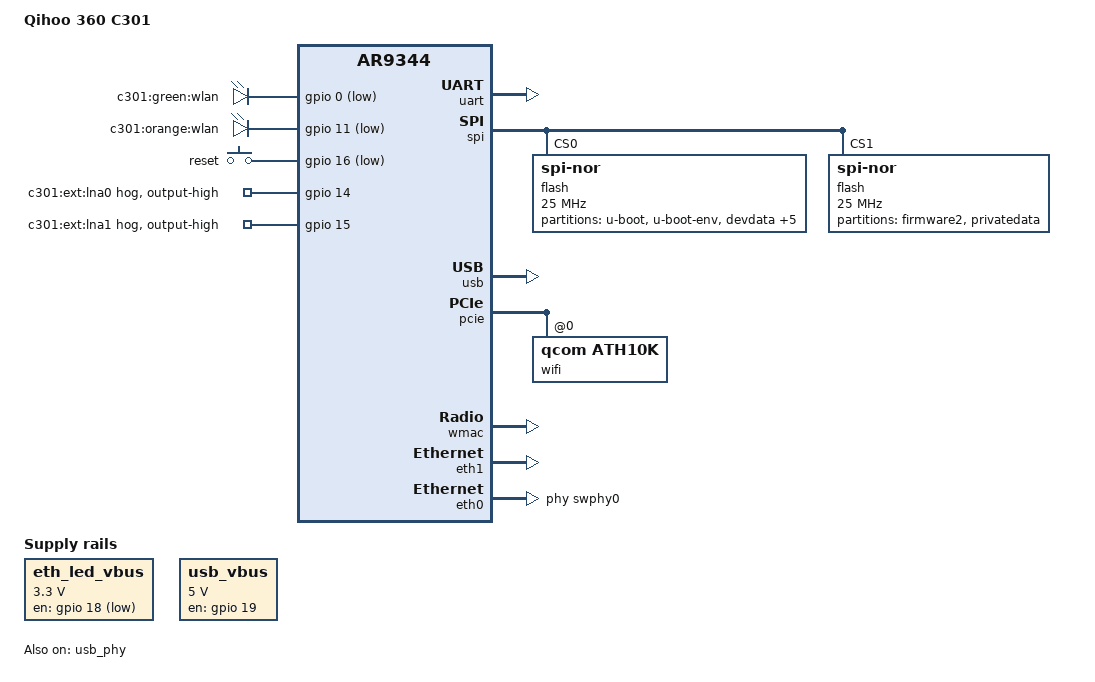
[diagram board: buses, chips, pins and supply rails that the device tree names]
// SPDX-License-Identifier: GPL-2.0-or-later OR MIT

#include "ar9344.dtsi"

#include <dt-bindings/gpio/gpio.h>
#include <dt-bindings/input/input.h>

/ {
	model = "Qihoo 360 C301";
	compatible = "qihoo,c301";

	aliases {
		led-boot = &led_wlan_g;
		led-failsafe = &led_wlan_o;
		led-upgrade = &led_wlan_o;
	};

	leds {
		compatible = "gpio-leds";
		pinctrl-names = "default";
		pinctrl-0 = <&jtag_disable_pins>;

		led_wlan_g: wlan_g {
			label = "c301:green:wlan";
			gpios = <&gpio 0 GPIO_ACTIVE_LOW>;
		};

		led_wlan_o: wlan_o {
			label = "c301:orange:wlan";
			gpios = <&gpio 11 GPIO_ACTIVE_LOW>;
			linux,default-trigger = "phy1tpt";
		};
	};

	keys {
		compatible = "gpio-keys";

		reset {
			linux,code = <KEY_RESTART>;
			gpios = <&gpio 16 GPIO_ACTIVE_LOW>;
			debounce-interval = <60>;
		};
	};

	reg_eth_led_vbus {
		compatible = "regulator-fixed";
		regulator-name = "eth_led_vbus";
		regulator-min-microvolt = <3300000>;
		regulator-max-microvolt = <3300000>;
		regulator-always-on;
		gpio = <&gpio 18 GPIO_ACTIVE_LOW>;
	};

	usb_vbus: reg_usb_vbus {
		compatible = "regulator-fixed";
		regulator-name = "usb_vbus";
		regulator-min-microvolt = <5000000>;
		regulator-max-microvolt = <5000000>;
		enable-active-high;
		gpio = <&gpio 19 GPIO_ACTIVE_HIGH>;
	};
};

&pinmux {
	pmx_spi_cs1: pinmux_spi_cs1 {
		pinctrl-single,bits = <0xc 0x07 0xff>;
	};

	pmx_led_switch: pinmux_led_switch {
		pinctrl-single,bits = <0x0 0x2b2a2d00 0xffffff00>;
	};
};

&ref {
	clock-frequency = <40000000>;
};

&uart {
	status = "okay";
};

&gpio {
	gpio_ext_lna0 {
		gpio-hog;
		gpios = <14 0>;
		output-high;
		line-name = "c301:ext:lna0";
	};

	gpio_ext_lna1 {
		gpio-hog;
		gpios = <15 0>;
		output-high;
		line-name = "c301:ext:lna1";
	};
};

&builtin_switch {
	pinctrl-names = "default";
	pinctrl-0 = <&pmx_led_switch>;
};

&spi {
	pinctrl-names = "default";
	pinctrl-0 = <&pmx_spi_cs1>;
	status = "okay";

	num-cs = <2>;

	flash@0 {
		#address-cells = <1>;
		#size-cells = <1>;
		compatible = "jedec,spi-nor";
		reg = <0>;
		spi-max-frequency = <25000000>;

		partitions {
			compatible = "fixed-partitions";
			#address-cells = <1>;
			#size-cells = <1>;

			uboot: partition@0 {
				label = "u-boot";
				reg = <0x0 0x40000>;
				read-only;
			};

			partition@40000 {
				label = "u-boot-env";
				reg = <0x40000 0x10000>;
				read-only;
			};

			partition@50000 {
				label = "devdata";
				reg = <0x50000 0x10000>;
				read-only;
			};

			partition@60000 {
				label = "devconf";
				reg = <0x60000 0x10000>;
				read-only;
			};

			partition@70000 {
				compatible = "seama";
				label = "firmware";
				reg = <0x70000 0xf60000>;
			};

			partition@fd0000 {
				label = "warm_start";
				reg = <0xfd0000 0x10000>;
				read-only;
			};

			partition@fe0000 {
				label = "action_image_config";
				reg = <0xfe0000 0x10000>;
			};

			partition@ff0000 {
				label = "radiocfg";
				reg = <0xff0000 0x10000>;
				read-only;
			};
		};
	};

	flash@1 {
		#address-cells = <1>;
		#size-cells = <1>;
		compatible = "jedec,spi-nor";
		reg = <1>;
		spi-max-frequency = <25000000>;

		partitions {
			compatible = "fixed-partitions";
			#address-cells = <1>;
			#size-cells = <1>;

			partition@0 {
				label = "firmware2";
				reg = <0x0 0xf00000>;
			};

			partition@f00000 {
				label = "privatedata";
				reg = <0xf00000 0x100000>;
				read-only;
			};
		};
	};
};

&usb {
	status = "okay";
};

&usb_phy {
	status = "okay";
	phy-supply = <&usb_vbus>;
};

&pcie {
	status = "okay";

	wifi@0,0 {
		compatible = "qcom,ath10k";
		reg = <0 0 0 0 0>;
	};
};

&wmac {
	status = "okay";
	qca,no-eeprom;
};

&eth1 {
	status = "okay";
	gmac-config {
		device = <&gmac>;
		switch-phy-swap = <1>;
		switch-only-mode = <1>;
	};
};

&eth0 {
	status = "okay";
	phy-handle = <&swphy0>;
};
